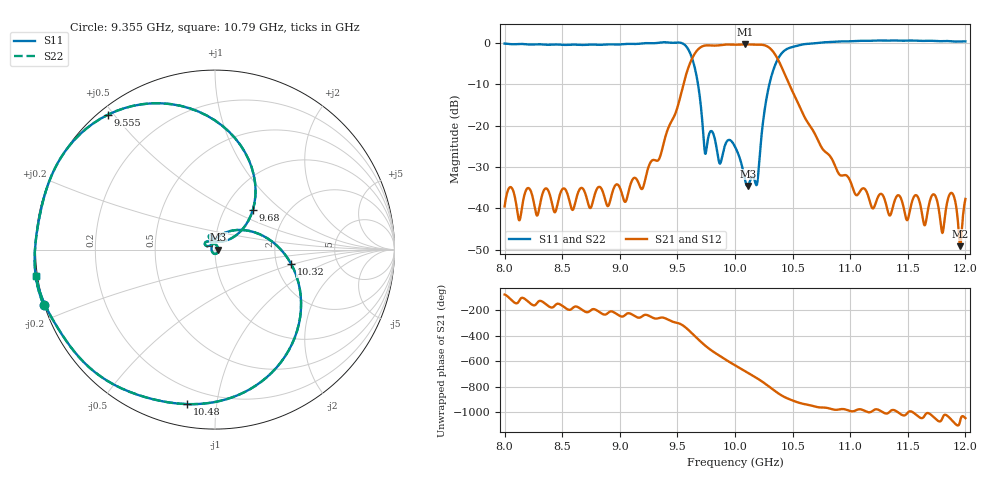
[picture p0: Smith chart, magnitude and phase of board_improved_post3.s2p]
! Improved post filter on full board
! openEMS v0.37 FDTD, reciprocal & symmetric: S22=S11, S12=S21
# GHz S MA R 50
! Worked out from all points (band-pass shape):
!   801 points, 8 GHz to 12 GHz, reference 50 ohm
!   highest |S21| = -0.43 dB at 10.09 GHz (marker M1); lowest = -49.1 dB at 11.96 GHz (marker M2)
!   |S21| within 3 dB of the highest: 9.635 GHz to 10.36 GHz (725.6 MHz wide, 7.26 % of centre)
!   lowest |S11| = -34.6 dB at 10.11 GHz (marker M3), VSWR 1.04, Z = 51.9 + j0.0267 ohm
!   |S11| at or under -10 dB: 9.679 GHz to 10.3 GHz (620.2 MHz wide, 6.21 % of centre)
!   |S22| runs from -34.6 to 0.5 dB; largest |S21 - S12| = 0
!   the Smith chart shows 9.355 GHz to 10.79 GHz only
!   S11 on the Smith chart (normalised r, x): 9.355 GHz: -0.00, -0.16; 9.555 GHz: 0.03, +0.48; 9.68 GHz: 1.35, +0.66; 10.32 GHz: 2.41, -0.48; 10.48 GHz: 0.11, -0.83; 10.79 GHz: -0.00, -0.07
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8  0.9723 6.8  0.01058 -75.8  0.01058 -75.8  0.9723 6.8
8.67  0.9366 -59.3  0.01767 165.5  0.01767 165.5  0.9366 -59.3
9.05  0.9624 -107.5  0.01207 126.2  0.01207 126.2  0.9624 -107.5
9.335  0.9945 -157.5  0.03835 97.9  0.03835 97.9  0.9945 -157.5
9.355  1.003 -162.1  0.04445 102.9  0.04445 102.9  1.003 -162.1
9.555  0.9595 128.4  0.3251 36.8  0.3251 36.8  0.9595 128.4
9.68  0.3075 46.5  0.83 -67.1  0.83 -67.1  0.3075 46.5
9.74  0.04585 72.8  0.9214 -116.2  0.9214 -116.2  0.04585 72.8
9.83  0.06388 99.5  0.9195 -176.0  0.9195 -176.0  0.06388 99.5
10  0.05557 125.8  0.9427 88.2  0.9427 88.2  0.05557 125.8
10.09  0.02129 48.8  0.9517 40.7  0.9517 40.7  0.02129 48.8
10.11  0.01867 0.8  0.9506 30.0  0.9506 30.0  0.01867 0.8
10.215  0.04448 99.0  0.9436 -27.3  0.9436 -27.3  0.04448 99.0
10.325  0.4328 -10.9  0.7957 -99.1  0.7957 -99.1  0.4328 -10.9
10.485  0.8744 -100.1  0.283 176.9  0.283 176.9  0.8744 -100.1
10.67  0.9741 -150.3  0.09048 130.0  0.09048 130.0  0.9741 -150.3
10.785  1.009 -171.6  0.04802 115.2  0.04802 115.2  1.009 -171.6
11.335  1.056 117.1  0.008487 76.6  0.008487 76.6  1.056 117.1
11.8  1.042 70.0  0.005052 32.2  0.005052 32.2  1.042 70.0
11.88  1.036 61.8  0.0154 18.5  0.0154 18.5  1.036 61.8
11.955  1.032 55.3  0.003508 12.3  0.003508 12.3  1.032 55.3
12  1.035 50.6  0.01301 33.0  0.01301 33.0  1.035 50.6
